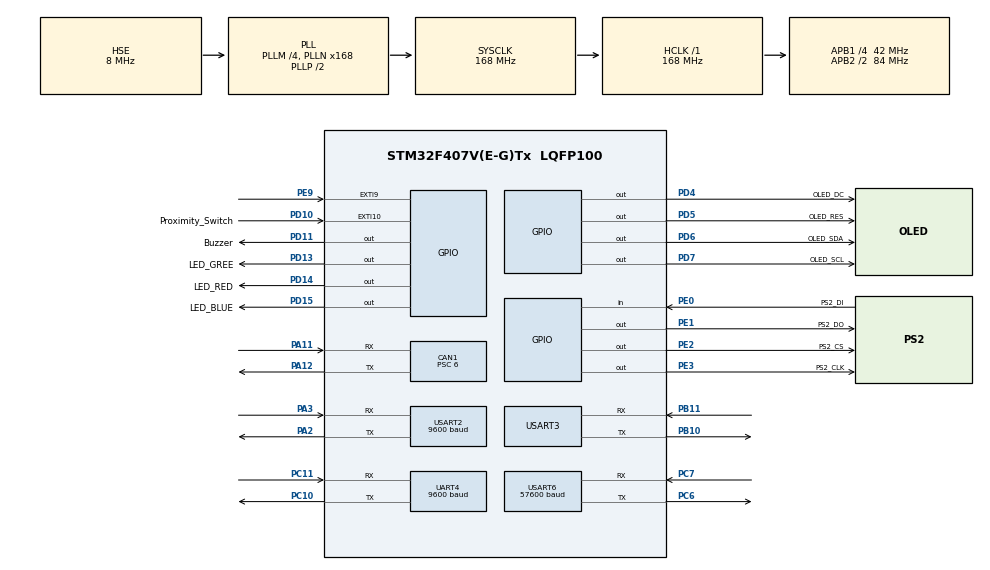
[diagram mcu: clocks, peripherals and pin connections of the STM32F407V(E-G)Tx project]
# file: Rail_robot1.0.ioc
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CAN1.BS1=CAN_BS1_4TQ
CAN1.BS2=CAN_BS2_2TQ
CAN1.CalculateBaudRate=1000000
CAN1.CalculateTimeBit=1000
CAN1.CalculateTimeQuantum=142.85714285714286
CAN1.Prescaler=6
Dma.Request0=UART4_RX
Dma.Request1=UART4_TX
Dma.Request2=USART6_RX
Dma.Request3=USART6_TX
Dma.UART4_RX.0.Direction=DMA_PERIPH_TO_MEMORY
Dma.UART4_RX.0.FIFOMode=DMA_FIFOMODE_DISABLE
Dma.UART4_RX.0.Instance=DMA1_Stream2
Dma.UART4_RX.0.MemDataAlignment=DMA_MDATAALIGN_BYTE
Dma.UART4_RX.0.MemInc=DMA_MINC_ENABLE
Dma.UART4_RX.0.Mode=DMA_NORMAL
Dma.UART4_RX.0.PeriphDataAlignment=DMA_PDATAALIGN_BYTE
Dma.UART4_RX.0.PeriphInc=DMA_PINC_DISABLE
Dma.UART4_RX.0.Priority=DMA_PRIORITY_LOW
Dma.UART4_TX.1.Direction=DMA_MEMORY_TO_PERIPH
Dma.UART4_TX.1.FIFOMode=DMA_FIFOMODE_DISABLE
Dma.UART4_TX.1.Instance=DMA1_Stream4
Dma.UART4_TX.1.MemDataAlignment=DMA_MDATAALIGN_BYTE
Dma.UART4_TX.1.MemInc=DMA_MINC_ENABLE
Dma.UART4_TX.1.Mode=DMA_NORMAL
Dma.UART4_TX.1.PeriphDataAlignment=DMA_PDATAALIGN_BYTE
Dma.UART4_TX.1.PeriphInc=DMA_PINC_DISABLE
Dma.UART4_TX.1.Priority=DMA_PRIORITY_LOW
Dma.USART6_RX.2.Direction=DMA_PERIPH_TO_MEMORY
Dma.USART6_RX.2.FIFOMode=DMA_FIFOMODE_DISABLE
Dma.USART6_RX.2.Instance=DMA2_Stream1
Dma.USART6_RX.2.MemDataAlignment=DMA_MDATAALIGN_BYTE
Dma.USART6_RX.2.MemInc=DMA_MINC_ENABLE
Dma.USART6_RX.2.Mode=DMA_NORMAL
Dma.USART6_RX.2.PeriphDataAlignment=DMA_PDATAALIGN_BYTE
Dma.USART6_RX.2.PeriphInc=DMA_PINC_DISABLE
Dma.USART6_RX.2.Priority=DMA_PRIORITY_LOW
Dma.USART6_TX.3.Direction=DMA_MEMORY_TO_PERIPH
Dma.USART6_TX.3.FIFOMode=DMA_FIFOMODE_DISABLE
Dma.USART6_TX.3.Instance=DMA2_Stream6
Dma.USART6_TX.3.MemDataAlignment=DMA_MDATAALIGN_BYTE
Dma.USART6_TX.3.MemInc=DMA_MINC_ENABLE
Dma.USART6_TX.3.Mode=DMA_NORMAL
Dma.USART6_TX.3.PeriphDataAlignment=DMA_PDATAALIGN_BYTE
Dma.USART6_TX.3.PeriphInc=DMA_PINC_DISABLE
Dma.USART6_TX.3.Priority=DMA_PRIORITY_LOW
FREERTOS.Queues01=myQueue01,16,uint16_t,0,Dynamic,NULL,NULL
FREERTOS.Tasks01=test,0,128,test_task,As weak,NULL,Dynamic,NULL,NULL
Mcu.Family=STM32F4
Mcu.Name=STM32F407V(E-G)Tx
Mcu.Package=LQFP100
NVIC.CAN1_RX0_IRQn=true\:5\:0\:false\:false\:true\:true\:true\:true\:true
NVIC.DMA1_Stream2_IRQn=true\:5\:0\:false\:false\:true\:true\:false\:true\:true
NVIC.DMA1_Stream4_IRQn=true\:5\:0\:false\:false\:true\:true\:false\:true\:true
NVIC.DMA2_Stream1_IRQn=true\:5\:0\:false\:false\:true\:true\:false\:true\:true
NVIC.DMA2_Stream6_IRQn=true\:5\:0\:false\:false\:true\:true\:false\:true\:true
NVIC.EXTI15_10_IRQn=true\:5\:0\:false\:false\:true\:true\:true\:true\:true
NVIC.PriorityGroup=NVIC_PRIORITYGROUP_4
NVIC.TIM6_DAC_IRQn=true\:15\:0\:false\:false\:true\:false\:false\:true\:true
NVIC.TimeBase=TIM6_DAC_IRQn
NVIC.TimeBaseIP=TIM6
NVIC.UART4_IRQn=true\:5\:0\:false\:false\:true\:true\:true\:true\:true
NVIC.USART2_IRQn=true\:5\:0\:false\:false\:true\:true\:true\:true\:true
NVIC.USART3_IRQn=true\:5\:0\:false\:false\:true\:true\:true\:true\:true
NVIC.USART6_IRQn=true\:5\:0\:false\:false\:true\:true\:true\:true\:true
PA11.Mode=CAN_Activate
PA11.Signal=CAN1_RX
PA12.Mode=CAN_Activate
PA12.Signal=CAN1_TX
PA13.Mode=Serial_Wire
PA13.Signal=SYS_JTMS-SWDIO
PA14.Mode=Serial_Wire
PA14.Signal=SYS_JTCK-SWCLK
PA2.Mode=Asynchronous
PA2.Signal=USART2_TX
PA3.Mode=Asynchronous
PA3.Signal=USART2_RX
PB10.Mode=Asynchronous
PB10.Signal=USART3_TX
PB11.Mode=Asynchronous
PB11.Signal=USART3_RX
PC10.Mode=Asynchronous
PC10.Signal=UART4_TX
PC11.Mode=Asynchronous
PC11.Signal=UART4_RX
PC6.Mode=Asynchronous
PC6.Signal=USART6_TX
PC7.Mode=Asynchronous
PC7.Signal=USART6_RX
PD10.GPIO_Label=Proximity_Switch
PD10.GPIO_ModeDefaultEXTI=GPIO_MODE_IT_FALLING
PD10.GPIO_PuPd=GPIO_NOPULL
PD10.Signal=GPXTI10
PD11.GPIO_Label=Buzzer
PD11.GPIO_PuPd=GPIO_PULLUP
PD11.Signal=GPIO_Output
PD13.GPIO_Label=LED_GREE
PD13.PinState=GPIO_PIN_SET
PD13.Signal=GPIO_Output
PD14.GPIO_Label=LED_RED
PD14.PinState=GPIO_PIN_SET
PD14.Signal=GPIO_Output
PD15.GPIO_Label=LED_BLUE
PD15.PinState=GPIO_PIN_SET
PD15.Signal=GPIO_Output
PD4.GPIO_Label=OLED_DC
PD4.GPIO_Speed=GPIO_SPEED_FREQ_VERY_HIGH
PD4.Signal=GPIO_Output
PD5.GPIO_Label=OLED_RES
PD5.GPIO_Speed=GPIO_SPEED_FREQ_VERY_HIGH
PD5.Signal=GPIO_Output
PD6.GPIO_Label=OLED_SDA
PD6.GPIO_Speed=GPIO_SPEED_FREQ_VERY_HIGH
PD6.Signal=GPIO_Output
PD7.GPIO_Label=OLED_SCL
PD7.GPIO_Speed=GPIO_SPEED_FREQ_VERY_HIGH
PD7.Signal=GPIO_Output
PE0.GPIO_Label=PS2_DI
PE0.GPIO_PuPd=GPIO_PULLDOWN
PE0.Signal=GPIO_Input
PE1.GPIO_Label=PS2_DO
PE1.GPIO_PuPd=GPIO_PULLUP
PE1.GPIO_Speed=GPIO_SPEED_FREQ_VERY_HIGH
PE1.Signal=GPIO_Output
PE2.GPIO_Label=PS2_CS
PE2.GPIO_PuPd=GPIO_PULLUP
PE2.Signal=GPIO_Output
PE3.GPIO_Label=PS2_CLK
PE3.GPIO_PuPd=GPIO_PULLUP
PE3.Signal=GPIO_Output
PE9.Signal=GPXTI9
PH0-OSC_IN.Mode=HSE-External-Oscillator
PH0-OSC_IN.Signal=RCC_OSC_IN
PH1-OSC_OUT.Mode=HSE-External-Oscillator
PH1-OSC_OUT.Signal=RCC_OSC_OUT
ProjectManager.HeapSize=0x200
ProjectManager.StackSize=0x400
ProjectManager.TargetToolchain=MDK-ARM V5.32
RCC.48MHZClocksFreq_Value=84000000
RCC.AHBFreq_Value=168000000
RCC.APB1CLKDivider=RCC_HCLK_DIV4
RCC.APB1Freq_Value=42000000
RCC.APB1TimFreq_Value=84000000
RCC.APB2CLKDivider=RCC_HCLK_DIV2
RCC.APB2Freq_Value=84000000
RCC.APB2TimFreq_Value=168000000
RCC.CortexFreq_Value=168000000
RCC.HCLKFreq_Value=168000000
RCC.HSE_VALUE=8000000
RCC.HSI_VALUE=16000000
RCC.LSE_VALUE=32768
RCC.PLLM=4
RCC.PLLN=168
RCC.PLLSourceVirtual=RCC_PLLSOURCE_HSE
RCC.SYSCLKFreq_VALUE=168000000
RCC.SYSCLKSource=RCC_SYSCLKSOURCE_PLLCLK
RCC.VCOOutputFreq_Value=336000000
UART4.BaudRate=9600
UART4.VirtualMode=Asynchronous
USART2.BaudRate=9600
USART2.VirtualMode=VM_ASYNC
USART3.VirtualMode=VM_ASYNC
USART6.BaudRate=57600
USART6.VirtualMode=VM_ASYNC
VP_CRC_VS_CRC.Mode=CRC_Activate
VP_FREERTOS_VS_CMSIS_V1.Mode=CMSIS_V1
VP_SYS_VS_tim6.Mode=TIM6
board=custom

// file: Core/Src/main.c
/* USER CODE BEGIN Header */
/**
  ******************************************************************************
  * @file           : main.c
  * @brief          : Main program body
  ******************************************************************************
  * @attention
  *
  * Copyright (c) 2025 STMicroelectronics.
  * All rights reserved.
  *
  * This software is licensed under terms that can be found in the LICENSE file
  * in the root directory of this software component.
  * If no LICENSE file comes with this software, it is provided AS-IS.
  *
  ******************************************************************************
  */
/* USER CODE END Header */
#include "main.h"
#include "cmsis_os.h"
#include "can.h"
#include "crc.h"
#include "dma.h"
#include "usart.h"
#include "gpio.h"

void SystemClock_Config(void);
void MX_FREERTOS_Init(void);
/* USER CODE BEGIN PFP */
extern uint8_t ua4_rxBuffer[50];
extern uint8_t ua6_rxBuffer[8];
extern DMA_HandleTypeDef hdma_uart4_rx;
extern DMA_HandleTypeDef hdma_usart6_rx;
/* USER CODE END PFP */

/* USER CODE BEGIN 0 */
void interrupt_init(void)
{
	HAL_UARTEx_ReceiveToIdle_DMA(&huart4, ua4_rxBuffer, 50);//开启DMA中断接收数据
//	__HAL_DMA_DISABLE_IT(&hdma_uart4_rx,DMA_IT_HT);//关闭传输过半中断hdma_usart6_rx
	HAL_UARTEx_ReceiveToIdle_DMA(&huart6, ua6_rxBuffer, 8);
	__HAL_DMA_DISABLE_IT(&hdma_usart6_rx,DMA_IT_HT);
}
/* USER CODE END 0 */

int main(void)
{

  /* MCU Configuration--------------------------------------------------------*/

  /* Reset of all peripherals, Initializes the Flash interface and the Systick. */
  HAL_Init();

  /* Configure the system clock */
  SystemClock_Config();

  /* Initialize all configured peripherals */
  MX_GPIO_Init();
  MX_DMA_Init();
  MX_CAN1_Init();
  MX_USART2_UART_Init();
  MX_USART3_UART_Init();
  MX_USART6_UART_Init();
  MX_UART4_Init();
  MX_CRC_Init();
  /* USER CODE BEGIN 2 */
	delay_init();
	can_filter_init();
	OLED_Init();
	PS2_SetInit();
	Buzzer_Init();
	interrupt_init();
	Buzzer_AddTask(1, 5);
  /* USER CODE END 2 */

  /* Call init function for freertos objects (in cmsis_os2.c) */
  MX_FREERTOS_Init();

  /* Start scheduler */
  osKernelStart();

  /* We should never get here as control is now taken by the scheduler */

  /* Infinite loop */
  while (1)
  {

  }
}

void SystemClock_Config(void)
{
  RCC_OscInitTypeDef RCC_OscInitStruct = {0};
  RCC_ClkInitTypeDef RCC_ClkInitStruct = {0};

  /** Configure the main internal regulator output voltage
  */
  __HAL_RCC_PWR_CLK_ENABLE();
  __HAL_PWR_VOLTAGESCALING_CONFIG(PWR_REGULATOR_VOLTAGE_SCALE1);

  /** Initializes the RCC Oscillators according to the specified parameters
  * in the RCC_OscInitTypeDef structure.
  */
  RCC_OscInitStruct.OscillatorType = RCC_OSCILLATORTYPE_HSE;
  RCC_OscInitStruct.HSEState = RCC_HSE_ON;
  RCC_OscInitStruct.PLL.PLLState = RCC_PLL_ON;
  RCC_OscInitStruct.PLL.PLLSource = RCC_PLLSOURCE_HSE;
  RCC_OscInitStruct.PLL.PLLM = 4;
  RCC_OscInitStruct.PLL.PLLN = 168;
  RCC_OscInitStruct.PLL.PLLP = RCC_PLLP_DIV2;
  RCC_OscInitStruct.PLL.PLLQ = 4;
  if (HAL_RCC_OscConfig(&RCC_OscInitStruct) != HAL_OK)
  {
    Error_Handler();
  }

  /** Initializes the CPU, AHB and APB buses clocks
  */
  RCC_ClkInitStruct.ClockType = RCC_CLOCKTYPE_HCLK|RCC_CLOCKTYPE_SYSCLK
                              |RCC_CLOCKTYPE_PCLK1|RCC_CLOCKTYPE_PCLK2;
  RCC_ClkInitStruct.SYSCLKSource = RCC_SYSCLKSOURCE_PLLCLK;
  RCC_ClkInitStruct.AHBCLKDivider = RCC_SYSCLK_DIV1;
  RCC_ClkInitStruct.APB1CLKDivider = RCC_HCLK_DIV4;
  RCC_ClkInitStruct.APB2CLKDivider = RCC_HCLK_DIV2;

  if (HAL_RCC_ClockConfig(&RCC_ClkInitStruct, FLASH_LATENCY_5) != HAL_OK)
  {
    Error_Handler();
  }
}

void HAL_TIM_PeriodElapsedCallback(TIM_HandleTypeDef *htim)
{
  if (htim->Instance == TIM6) {
    HAL_IncTick();
  }
}

void Error_Handler(void)
{
  __disable_irq();
  while (1)
  {
  }
}

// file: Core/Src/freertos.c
/* USER CODE BEGIN Header */
/**
  ******************************************************************************
  * File Name          : freertos.c
  * Description        : Code for freertos applications
  ******************************************************************************
  * @attention
  *
  * Copyright (c) 2025 STMicroelectronics.
  * All rights reserved.
  *
  * This software is licensed under terms that can be found in the LICENSE file
  * in the root directory of this software component.
  * If no LICENSE file comes with this software, it is provided AS-IS.
  *
  ******************************************************************************
  */
/* USER CODE END Header */

#include "FreeRTOS.h"
#include "task.h"
#include "main.h"
#include "cmsis_os.h"

/* USER CODE BEGIN Includes */
#include "led_RGB_task.h"
#include "chassis_task.h"
#include "oled_task.h"
#include "ps2_task.h"
#include "uart_transmit_task.h"
/* USER CODE END Includes */

/* USER CODE BEGIN PTD */

osThreadId led_RGB_TaskHandle;
osThreadId chassisTaskHandle;
osThreadId oledTaskHandle;
osThreadId ps2TaskHandle;
osThreadId UART_TransmitTaskHandle;

osMessageQId uarxQueueHandle;
osMessageQId ps2QueueHandle;

UBaseType_t xFreeStackSpace1;
UBaseType_t xFreeStackSpace2;
UBaseType_t xFreeStackSpace3;
UBaseType_t xFreeStackSpace4;

/* USER CODE END PTD */

osThreadId testHandle;
osMessageQId myQueue01Handle;

void test_task(void const * argument);

void MX_FREERTOS_Init(void); /* (MISRA C 2004 rule 8.1) */

/* GetIdleTaskMemory prototype (linked to static allocation support) */
void vApplicationGetIdleTaskMemory( StaticTask_t **ppxIdleTaskTCBBuffer, StackType_t **ppxIdleTaskStackBuffer, uint32_t *pulIdleTaskStackSize );

/* USER CODE BEGIN GET_IDLE_TASK_MEMORY */
static StaticTask_t xIdleTaskTCBBuffer;
static StackType_t xIdleStack[configMINIMAL_STACK_SIZE];

void vApplicationGetIdleTaskMemory( StaticTask_t **ppxIdleTaskTCBBuffer, StackType_t **ppxIdleTaskStackBuffer, uint32_t *pulIdleTaskStackSize )
{
  *ppxIdleTaskTCBBuffer = &xIdleTaskTCBBuffer;
  *ppxIdleTaskStackBuffer = &xIdleStack[0];
  *pulIdleTaskStackSize = configMINIMAL_STACK_SIZE;
  /* place for user code */
}
/* USER CODE END GET_IDLE_TASK_MEMORY */

void MX_FREERTOS_Init(void) {

  /* Create the queue(s) */
  /* definition and creation of myQueue01 */
  osMessageQDef(myQueue01, 16, uint16_t);
  myQueue01Handle = osMessageCreate(osMessageQ(myQueue01), NULL);

  /* USER CODE BEGIN RTOS_QUEUES */
  /* add queues, ... */
	osMessageQDef(uarxQueue, 64, UART_Data_t);
  uarxQueueHandle = osMessageCreate(osMessageQ(uarxQueue), NULL);

	osMessageQDef(ps2Queue,128, PS2Data_TypeDef);
  ps2QueueHandle = osMessageCreate(osMessageQ(ps2Queue), NULL);
  /* USER CODE END RTOS_QUEUES */

  /* Create the thread(s) */
  /* definition and creation of test */
  osThreadDef(test, test_task, osPriorityNormal, 0, 128);
  testHandle = osThreadCreate(osThread(test), NULL);

  /* USER CODE BEGIN RTOS_THREADS */
  /* add threads, ... */
	osThreadDef(LED_RGB, led_RGB_task, osPriorityNormal, 0, 128);
	led_RGB_TaskHandle = osThreadCreate(osThread(LED_RGB), NULL);

	osThreadDef(OLED, oled_task, osPriorityNormal, 0, 128);
	oledTaskHandle = osThreadCreate(osThread(OLED), NULL);

	osThreadDef(Chassis, chassis_task, osPriorityAboveNormal, 0, 128);
	chassisTaskHandle = osThreadCreate(osThread(Chassis), NULL);

	osThreadDef(PS2, ps2_task, osPriorityHigh, 0, 128);
	ps2TaskHandle = osThreadCreate(osThread(PS2), NULL);

	osThreadDef(UART_Transmit, UART_TransmitTask, osPriorityNormal, 0, 128);
	UART_TransmitTaskHandle = osThreadCreate(osThread(UART_Transmit), NULL);

  /* USER CODE END RTOS_THREADS */

}

__weak void test_task(void const * argument)
{
  /* USER CODE BEGIN test_task */
//	 xFreeStackSpace1 = uxTaskGetStackHighWaterMark(ps2TaskHandle);
//	xFreeStackSpace2 = uxTaskGetStackHighWaterMark(led_RGB_TaskHandle);
//	xFreeStackSpace3 = uxTaskGetStackHighWaterMark(chassisTaskHandle);
//	xFreeStackSpace4 = uxTaskGetStackHighWaterMark(oledTaskHandle);
  /* Infinite loop */
  for(;;)
  {
  }
  /* USER CODE END test_task */
}
